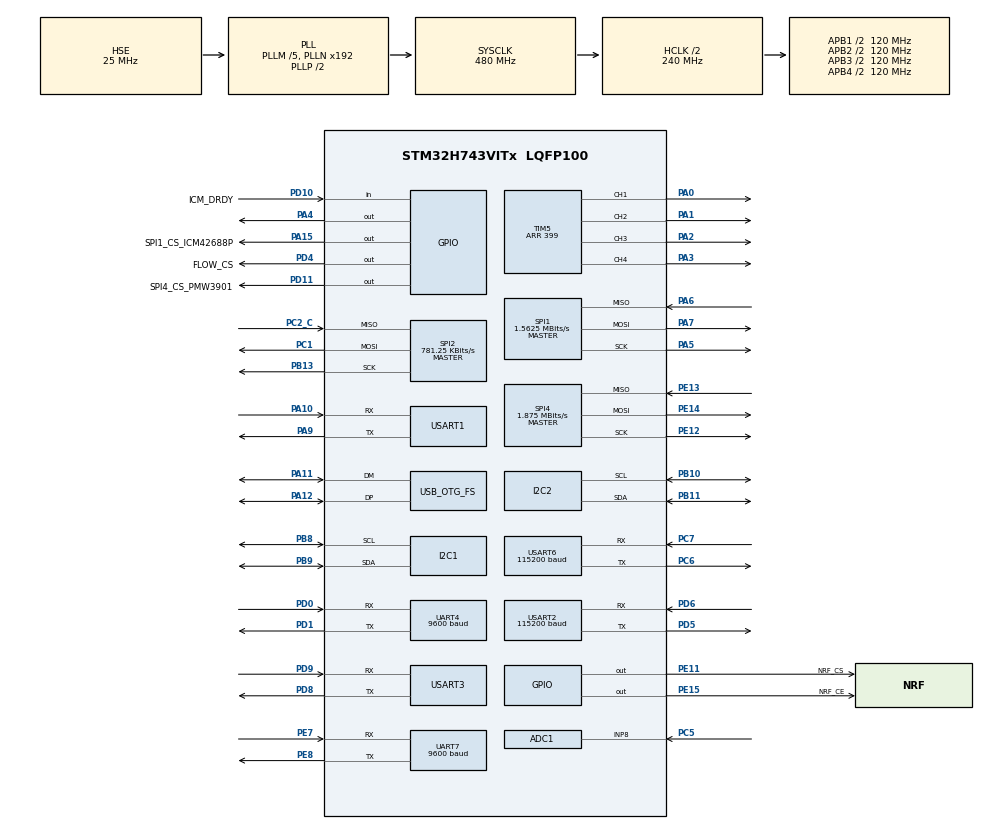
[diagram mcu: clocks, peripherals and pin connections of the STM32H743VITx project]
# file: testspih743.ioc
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ADC1.Channel-0\#ChannelRegularConversion=ADC_CHANNEL_8
ADC1.ClockPrescaler=ADC_CLOCK_ASYNC_DIV64
ADC1.ContinuousConvMode=ENABLE
ADC1.NbrOfConversionFlag=1
ADC1.OffsetNumber-0\#ChannelRegularConversion=ADC_OFFSET_NONE
ADC1.OffsetSignedSaturation-0\#ChannelRegularConversion=DISABLE
ADC1.Rank-0\#ChannelRegularConversion=1
ADC1.Resolution=ADC_RESOLUTION_12B
ADC1.SamplingTime-0\#ChannelRegularConversion=ADC_SAMPLETIME_1CYCLE_5
ADC1.master=1
CORTEX_M7.default_mode_Activation=1
Dma.ADC1.0.Direction=DMA_PERIPH_TO_MEMORY
Dma.ADC1.0.EventEnable=DISABLE
Dma.ADC1.0.FIFOMode=DMA_FIFOMODE_DISABLE
Dma.ADC1.0.Instance=DMA1_Stream0
Dma.ADC1.0.MemDataAlignment=DMA_MDATAALIGN_WORD
Dma.ADC1.0.MemInc=DMA_MINC_ENABLE
Dma.ADC1.0.Mode=DMA_CIRCULAR
Dma.ADC1.0.PeriphDataAlignment=DMA_PDATAALIGN_WORD
Dma.ADC1.0.PeriphInc=DMA_PINC_DISABLE
Dma.ADC1.0.Polarity=HAL_DMAMUX_REQ_GEN_RISING
Dma.ADC1.0.Priority=DMA_PRIORITY_LOW
Dma.ADC1.0.RequestNumber=1
Dma.ADC1.0.SignalID=NONE
Dma.ADC1.0.SyncEnable=DISABLE
Dma.ADC1.0.SyncPolarity=HAL_DMAMUX_SYNC_NO_EVENT
Dma.ADC1.0.SyncRequestNumber=1
Dma.ADC1.0.SyncSignalID=NONE
Dma.I2C1_RX.10.Direction=DMA_PERIPH_TO_MEMORY
Dma.I2C1_RX.10.EventEnable=DISABLE
Dma.I2C1_RX.10.FIFOMode=DMA_FIFOMODE_DISABLE
Dma.I2C1_RX.10.Instance=DMA2_Stream2
Dma.I2C1_RX.10.MemDataAlignment=DMA_MDATAALIGN_BYTE
Dma.I2C1_RX.10.MemInc=DMA_MINC_ENABLE
Dma.I2C1_RX.10.Mode=DMA_NORMAL
Dma.I2C1_RX.10.PeriphDataAlignment=DMA_PDATAALIGN_BYTE
Dma.I2C1_RX.10.PeriphInc=DMA_PINC_DISABLE
Dma.I2C1_RX.10.Polarity=HAL_DMAMUX_REQ_GEN_RISING
Dma.I2C1_RX.10.Priority=DMA_PRIORITY_LOW
Dma.I2C1_RX.10.RequestNumber=1
Dma.I2C1_RX.10.SignalID=NONE
Dma.I2C1_RX.10.SyncEnable=DISABLE
Dma.I2C1_RX.10.SyncPolarity=HAL_DMAMUX_SYNC_NO_EVENT
Dma.I2C1_RX.10.SyncRequestNumber=1
Dma.I2C1_RX.10.SyncSignalID=NONE
Dma.I2C1_TX.11.Direction=DMA_MEMORY_TO_PERIPH
Dma.I2C1_TX.11.EventEnable=DISABLE
Dma.I2C1_TX.11.FIFOMode=DMA_FIFOMODE_DISABLE
Dma.I2C1_TX.11.Instance=DMA2_Stream3
Dma.I2C1_TX.11.MemDataAlignment=DMA_MDATAALIGN_BYTE
Dma.I2C1_TX.11.MemInc=DMA_MINC_ENABLE
Dma.I2C1_TX.11.Mode=DMA_NORMAL
Dma.I2C1_TX.11.PeriphDataAlignment=DMA_PDATAALIGN_BYTE
Dma.I2C1_TX.11.PeriphInc=DMA_PINC_DISABLE
Dma.I2C1_TX.11.Polarity=HAL_DMAMUX_REQ_GEN_RISING
Dma.I2C1_TX.11.Priority=DMA_PRIORITY_LOW
Dma.I2C1_TX.11.RequestNumber=1
Dma.I2C1_TX.11.SignalID=NONE
Dma.I2C1_TX.11.SyncEnable=DISABLE
Dma.I2C1_TX.11.SyncPolarity=HAL_DMAMUX_SYNC_NO_EVENT
Dma.I2C1_TX.11.SyncRequestNumber=1
Dma.I2C1_TX.11.SyncSignalID=NONE
Dma.Request0=ADC1
Dma.Request1=TIM5_CH1
Dma.Request10=I2C1_RX
Dma.Request11=I2C1_TX
Dma.Request12=SPI4_RX
Dma.Request13=SPI4_TX
Dma.Request14=UART7_RX
Dma.Request15=UART7_TX
Dma.Request2=TIM5_CH2
Dma.Request3=TIM5_CH3
Dma.Request4=TIM5_CH4
Dma.Request5=SPI1_RX
Dma.Request6=SPI1_TX
Dma.Request7=USART6_RX
Dma.Request8=USART3_RX
Dma.Request9=USART2_RX
Dma.SPI1_RX.5.Direction=DMA_PERIPH_TO_MEMORY
Dma.SPI1_RX.5.EventEnable=DISABLE
Dma.SPI1_RX.5.FIFOMode=DMA_FIFOMODE_DISABLE
Dma.SPI1_RX.5.Instance=DMA1_Stream5
Dma.SPI1_RX.5.MemDataAlignment=DMA_MDATAALIGN_BYTE
Dma.SPI1_RX.5.MemInc=DMA_MINC_ENABLE
Dma.SPI1_RX.5.Mode=DMA_NORMAL
Dma.SPI1_RX.5.PeriphDataAlignment=DMA_PDATAALIGN_BYTE
Dma.SPI1_RX.5.PeriphInc=DMA_PINC_DISABLE
Dma.SPI1_RX.5.Polarity=HAL_DMAMUX_REQ_GEN_RISING
Dma.SPI1_RX.5.Priority=DMA_PRIORITY_LOW
Dma.SPI1_RX.5.RequestNumber=1
Dma.SPI1_RX.5.SignalID=NONE
Dma.SPI1_RX.5.SyncEnable=DISABLE
Dma.SPI1_RX.5.SyncPolarity=HAL_DMAMUX_SYNC_NO_EVENT
Dma.SPI1_RX.5.SyncRequestNumber=1
Dma.SPI1_RX.5.SyncSignalID=NONE
Dma.SPI1_TX.6.Direction=DMA_MEMORY_TO_PERIPH
Dma.SPI1_TX.6.EventEnable=DISABLE
Dma.SPI1_TX.6.FIFOMode=DMA_FIFOMODE_DISABLE
Dma.SPI1_TX.6.Instance=DMA1_Stream6
Dma.SPI1_TX.6.MemDataAlignment=DMA_MDATAALIGN_BYTE
Dma.SPI1_TX.6.MemInc=DMA_MINC_ENABLE
Dma.SPI1_TX.6.Mode=DMA_NORMAL
Dma.SPI1_TX.6.PeriphDataAlignment=DMA_PDATAALIGN_BYTE
Dma.SPI1_TX.6.PeriphInc=DMA_PINC_DISABLE
Dma.SPI1_TX.6.Polarity=HAL_DMAMUX_REQ_GEN_RISING
Dma.SPI1_TX.6.Priority=DMA_PRIORITY_LOW
Dma.SPI1_TX.6.RequestNumber=1
Dma.SPI1_TX.6.SignalID=NONE
Dma.SPI1_TX.6.SyncEnable=DISABLE
Dma.SPI1_TX.6.SyncPolarity=HAL_DMAMUX_SYNC_NO_EVENT
Dma.SPI1_TX.6.SyncRequestNumber=1
Dma.SPI1_TX.6.SyncSignalID=NONE
Dma.SPI4_RX.12.Direction=DMA_PERIPH_TO_MEMORY
Dma.SPI4_RX.12.EventEnable=DISABLE
Dma.SPI4_RX.12.FIFOMode=DMA_FIFOMODE_DISABLE
Dma.SPI4_RX.12.Instance=DMA2_Stream4
Dma.SPI4_RX.12.MemDataAlignment=DMA_MDATAALIGN_BYTE
Dma.SPI4_RX.12.MemInc=DMA_MINC_ENABLE
Dma.SPI4_RX.12.Mode=DMA_NORMAL
Dma.SPI4_RX.12.PeriphDataAlignment=DMA_PDATAALIGN_BYTE
Dma.SPI4_RX.12.PeriphInc=DMA_PINC_DISABLE
Dma.SPI4_RX.12.Polarity=HAL_DMAMUX_REQ_GEN_RISING
Dma.SPI4_RX.12.Priority=DMA_PRIORITY_LOW
Dma.SPI4_RX.12.RequestNumber=1
Dma.SPI4_RX.12.SignalID=NONE
Dma.SPI4_RX.12.SyncEnable=DISABLE
Dma.SPI4_RX.12.SyncPolarity=HAL_DMAMUX_SYNC_NO_EVENT
Dma.SPI4_RX.12.SyncRequestNumber=1
Dma.SPI4_RX.12.SyncSignalID=NONE
Dma.SPI4_TX.13.Direction=DMA_MEMORY_TO_PERIPH
Dma.SPI4_TX.13.EventEnable=DISABLE
Dma.SPI4_TX.13.FIFOMode=DMA_FIFOMODE_DISABLE
Dma.SPI4_TX.13.Instance=DMA2_Stream5
Dma.SPI4_TX.13.MemDataAlignment=DMA_MDATAALIGN_BYTE
Dma.SPI4_TX.13.MemInc=DMA_MINC_ENABLE
Dma.SPI4_TX.13.Mode=DMA_NORMAL
Dma.SPI4_TX.13.PeriphDataAlignment=DMA_PDATAALIGN_BYTE
Dma.SPI4_TX.13.PeriphInc=DMA_PINC_DISABLE
Dma.SPI4_TX.13.Polarity=HAL_DMAMUX_REQ_GEN_RISING
Dma.SPI4_TX.13.Priority=DMA_PRIORITY_LOW
Dma.SPI4_TX.13.RequestNumber=1
Dma.SPI4_TX.13.SignalID=NONE
Dma.SPI4_TX.13.SyncEnable=DISABLE
Dma.SPI4_TX.13.SyncPolarity=HAL_DMAMUX_SYNC_NO_EVENT
Dma.SPI4_TX.13.SyncRequestNumber=1
Dma.SPI4_TX.13.SyncSignalID=NONE
Dma.TIM5_CH1.1.Direction=DMA_MEMORY_TO_PERIPH
Dma.TIM5_CH1.1.EventEnable=DISABLE
Dma.TIM5_CH1.1.FIFOMode=DMA_FIFOMODE_DISABLE
Dma.TIM5_CH1.1.Instance=DMA1_Stream1
Dma.TIM5_CH1.1.MemDataAlignment=DMA_MDATAALIGN_WORD
Dma.TIM5_CH1.1.MemInc=DMA_MINC_ENABLE
Dma.TIM5_CH1.1.Mode=DMA_NORMAL
Dma.TIM5_CH1.1.PeriphDataAlignment=DMA_PDATAALIGN_WORD
Dma.TIM5_CH1.1.PeriphInc=DMA_PINC_DISABLE
Dma.TIM5_CH1.1.Polarity=HAL_DMAMUX_REQ_GEN_RISING
Dma.TIM5_CH1.1.Priority=DMA_PRIORITY_LOW
Dma.TIM5_CH1.1.RequestNumber=1
Dma.TIM5_CH1.1.SignalID=NONE
Dma.TIM5_CH1.1.SyncEnable=DISABLE
Dma.TIM5_CH1.1.SyncPolarity=HAL_DMAMUX_SYNC_NO_EVENT
Dma.TIM5_CH1.1.SyncRequestNumber=1
Dma.TIM5_CH1.1.SyncSignalID=NONE
Dma.TIM5_CH2.2.Direction=DMA_MEMORY_TO_PERIPH
Dma.TIM5_CH2.2.EventEnable=DISABLE
Dma.TIM5_CH2.2.FIFOMode=DMA_FIFOMODE_DISABLE
Dma.TIM5_CH2.2.Instance=DMA1_Stream2
Dma.TIM5_CH2.2.MemDataAlignment=DMA_MDATAALIGN_WORD
Dma.TIM5_CH2.2.MemInc=DMA_MINC_ENABLE
Dma.TIM5_CH2.2.Mode=DMA_NORMAL
Dma.TIM5_CH2.2.PeriphDataAlignment=DMA_PDATAALIGN_WORD
Dma.TIM5_CH2.2.PeriphInc=DMA_PINC_DISABLE
Dma.TIM5_CH2.2.Polarity=HAL_DMAMUX_REQ_GEN_RISING
Dma.TIM5_CH2.2.Priority=DMA_PRIORITY_LOW
Dma.TIM5_CH2.2.RequestNumber=1
Dma.TIM5_CH2.2.SignalID=NONE
Dma.TIM5_CH2.2.SyncEnable=DISABLE
Dma.TIM5_CH2.2.SyncPolarity=HAL_DMAMUX_SYNC_NO_EVENT
Dma.TIM5_CH2.2.SyncRequestNumber=1
Dma.TIM5_CH2.2.SyncSignalID=NONE
Dma.TIM5_CH3.3.Direction=DMA_MEMORY_TO_PERIPH
Dma.TIM5_CH3.3.EventEnable=DISABLE
Dma.TIM5_CH3.3.FIFOMode=DMA_FIFOMODE_DISABLE
Dma.TIM5_CH3.3.Instance=DMA1_Stream3
Dma.TIM5_CH3.3.MemDataAlignment=DMA_MDATAALIGN_WORD
Dma.TIM5_CH3.3.MemInc=DMA_MINC_ENABLE
Dma.TIM5_CH3.3.Mode=DMA_NORMAL
Dma.TIM5_CH3.3.PeriphDataAlignment=DMA_PDATAALIGN_WORD
Dma.TIM5_CH3.3.PeriphInc=DMA_PINC_DISABLE
Dma.TIM5_CH3.3.Polarity=HAL_DMAMUX_REQ_GEN_RISING
Dma.TIM5_CH3.3.Priority=DMA_PRIORITY_LOW
Dma.TIM5_CH3.3.RequestNumber=1
Dma.TIM5_CH3.3.SignalID=NONE
Dma.TIM5_CH3.3.SyncEnable=DISABLE
Dma.TIM5_CH3.3.SyncPolarity=HAL_DMAMUX_SYNC_NO_EVENT
Dma.TIM5_CH3.3.SyncRequestNumber=1
Dma.TIM5_CH3.3.SyncSignalID=NONE
Dma.TIM5_CH4.4.Direction=DMA_MEMORY_TO_PERIPH
Dma.TIM5_CH4.4.EventEnable=DISABLE
Dma.TIM5_CH4.4.FIFOMode=DMA_FIFOMODE_DISABLE
Dma.TIM5_CH4.4.Instance=DMA1_Stream4
Dma.TIM5_CH4.4.MemDataAlignment=DMA_MDATAALIGN_WORD
Dma.TIM5_CH4.4.MemInc=DMA_MINC_ENABLE
Dma.TIM5_CH4.4.Mode=DMA_NORMAL
Dma.TIM5_CH4.4.PeriphDataAlignment=DMA_PDATAALIGN_WORD
Dma.TIM5_CH4.4.PeriphInc=DMA_PINC_DISABLE
Dma.TIM5_CH4.4.Polarity=HAL_DMAMUX_REQ_GEN_RISING
Dma.TIM5_CH4.4.Priority=DMA_PRIORITY_LOW
Dma.TIM5_CH4.4.RequestNumber=1
Dma.TIM5_CH4.4.SignalID=NONE
Dma.TIM5_CH4.4.SyncEnable=DISABLE
Dma.TIM5_CH4.4.SyncPolarity=HAL_DMAMUX_SYNC_NO_EVENT
Dma.TIM5_CH4.4.SyncRequestNumber=1
Dma.TIM5_CH4.4.SyncSignalID=NONE
Dma.UART7_RX.14.Direction=DMA_PERIPH_TO_MEMORY
Dma.UART7_RX.14.EventEnable=DISABLE
Dma.UART7_RX.14.FIFOMode=DMA_FIFOMODE_DISABLE
Dma.UART7_RX.14.Instance=DMA2_Stream6
Dma.UART7_RX.14.MemDataAlignment=DMA_MDATAALIGN_BYTE
Dma.UART7_RX.14.MemInc=DMA_MINC_ENABLE
Dma.UART7_RX.14.Mode=DMA_CIRCULAR
Dma.UART7_RX.14.PeriphDataAlignment=DMA_PDATAALIGN_BYTE
Dma.UART7_RX.14.PeriphInc=DMA_PINC_DISABLE
Dma.UART7_RX.14.Polarity=HAL_DMAMUX_REQ_GEN_RISING
Dma.UART7_RX.14.Priority=DMA_PRIORITY_LOW
Dma.UART7_RX.14.RequestNumber=1
Dma.UART7_RX.14.SignalID=NONE
Dma.UART7_RX.14.SyncEnable=DISABLE
Dma.UART7_RX.14.SyncPolarity=HAL_DMAMUX_SYNC_NO_EVENT
Dma.UART7_RX.14.SyncRequestNumber=1
Dma.UART7_RX.14.SyncSignalID=NONE
Dma.UART7_TX.15.Direction=DMA_MEMORY_TO_PERIPH
Dma.UART7_TX.15.EventEnable=DISABLE
Dma.UART7_TX.15.FIFOMode=DMA_FIFOMODE_DISABLE
Dma.UART7_TX.15.Instance=DMA2_Stream7
Dma.UART7_TX.15.MemDataAlignment=DMA_MDATAALIGN_BYTE
Dma.UART7_TX.15.MemInc=DMA_MINC_ENABLE
Dma.UART7_TX.15.Mode=DMA_CIRCULAR
Dma.UART7_TX.15.PeriphDataAlignment=DMA_PDATAALIGN_BYTE
Dma.UART7_TX.15.PeriphInc=DMA_PINC_DISABLE
Dma.UART7_TX.15.Polarity=HAL_DMAMUX_REQ_GEN_RISING
Dma.UART7_TX.15.Priority=DMA_PRIORITY_LOW
Dma.UART7_TX.15.RequestNumber=1
Dma.UART7_TX.15.SignalID=NONE
Dma.UART7_TX.15.SyncEnable=DISABLE
Dma.UART7_TX.15.SyncPolarity=HAL_DMAMUX_SYNC_NO_EVENT
Dma.UART7_TX.15.SyncRequestNumber=1
Dma.UART7_TX.15.SyncSignalID=NONE
Dma.USART2_RX.9.Direction=DMA_PERIPH_TO_MEMORY
Dma.USART2_RX.9.EventEnable=DISABLE
Dma.USART2_RX.9.FIFOMode=DMA_FIFOMODE_DISABLE
Dma.USART2_RX.9.Instance=DMA2_Stream1
Dma.USART2_RX.9.MemDataAlignment=DMA_MDATAALIGN_BYTE
Dma.USART2_RX.9.MemInc=DMA_MINC_ENABLE
Dma.USART2_RX.9.Mode=DMA_CIRCULAR
Dma.USART2_RX.9.PeriphDataAlignment=DMA_PDATAALIGN_BYTE
Dma.USART2_RX.9.PeriphInc=DMA_PINC_DISABLE
Dma.USART2_RX.9.Polarity=HAL_DMAMUX_REQ_GEN_RISING
Dma.USART2_RX.9.Priority=DMA_PRIORITY_LOW
Dma.USART2_RX.9.RequestNumber=1
Dma.USART2_RX.9.SignalID=NONE
Dma.USART2_RX.9.SyncEnable=DISABLE
Dma.USART2_RX.9.SyncPolarity=HAL_DMAMUX_SYNC_NO_EVENT
Dma.USART2_RX.9.SyncRequestNumber=1
Dma.USART2_RX.9.SyncSignalID=NONE
Dma.USART3_RX.8.Direction=DMA_PERIPH_TO_MEMORY
Dma.USART3_RX.8.EventEnable=DISABLE
Dma.USART3_RX.8.FIFOMode=DMA_FIFOMODE_DISABLE
Dma.USART3_RX.8.Instance=DMA2_Stream0
Dma.USART3_RX.8.MemDataAlignment=DMA_MDATAALIGN_BYTE
Dma.USART3_RX.8.MemInc=DMA_MINC_ENABLE
Dma.USART3_RX.8.Mode=DMA_CIRCULAR
Dma.USART3_RX.8.PeriphDataAlignment=DMA_PDATAALIGN_BYTE
Dma.USART3_RX.8.PeriphInc=DMA_PINC_DISABLE
Dma.USART3_RX.8.Polarity=HAL_DMAMUX_REQ_GEN_RISING
Dma.USART3_RX.8.Priority=DMA_PRIORITY_LOW
Dma.USART3_RX.8.RequestNumber=1
Dma.USART3_RX.8.SignalID=NONE
Dma.USART3_RX.8.SyncEnable=DISABLE
Dma.USART3_RX.8.SyncPolarity=HAL_DMAMUX_SYNC_NO_EVENT
Dma.USART3_RX.8.SyncRequestNumber=1
Dma.USART3_RX.8.SyncSignalID=NONE
Dma.USART6_RX.7.Direction=DMA_PERIPH_TO_MEMORY
Dma.USART6_RX.7.EventEnable=DISABLE
Dma.USART6_RX.7.FIFOMode=DMA_FIFOMODE_DISABLE
Dma.USART6_RX.7.Instance=DMA1_Stream7
Dma.USART6_RX.7.MemDataAlignment=DMA_MDATAALIGN_BYTE
Dma.USART6_RX.7.MemInc=DMA_MINC_ENABLE
Dma.USART6_RX.7.Mode=DMA_CIRCULAR
Dma.USART6_RX.7.PeriphDataAlignment=DMA_PDATAALIGN_BYTE
Dma.USART6_RX.7.PeriphInc=DMA_PINC_DISABLE
Dma.USART6_RX.7.Polarity=HAL_DMAMUX_REQ_GEN_RISING
Dma.USART6_RX.7.Priority=DMA_PRIORITY_LOW
Dma.USART6_RX.7.RequestNumber=1
Dma.USART6_RX.7.SignalID=NONE
Dma.USART6_RX.7.SyncEnable=DISABLE
Dma.USART6_RX.7.SyncPolarity=HAL_DMAMUX_SYNC_NO_EVENT
Dma.USART6_RX.7.SyncRequestNumber=1
Dma.USART6_RX.7.SyncSignalID=NONE
FREERTOS.Tasks01=defaultTask,24,128,StartDefaultTask,Default,NULL,Dynamic,NULL,NULL;sensorsTask,48,128,StartTask02,Default,NULL,Dynamic,NULL,NULL;gpsTask,8,128,StartTask03,Default,NULL,Dynamic,NULL,NULL
FREERTOS.configGENERATE_RUN_TIME_STATS=1
FREERTOS.configUSE_STATS_FORMATTING_FUNCTIONS=1
I2C1.Timing=0x307075B1
I2C2.Timing=0x307075B1
Mcu.Family=STM32H7
Mcu.Name=STM32H743VITx
Mcu.Package=LQFP100
NVIC.DMA1_Stream0_IRQn=true\:5\:0\:false\:false\:true\:true\:false\:true\:true
NVIC.DMA1_Stream1_IRQn=true\:5\:0\:false\:false\:true\:true\:false\:true\:true
NVIC.DMA1_Stream2_IRQn=true\:5\:0\:false\:false\:true\:true\:false\:true\:true
NVIC.DMA1_Stream3_IRQn=true\:5\:0\:false\:false\:true\:true\:false\:true\:true
NVIC.DMA1_Stream4_IRQn=true\:5\:0\:false\:false\:true\:true\:false\:true\:true
NVIC.DMA1_Stream5_IRQn=true\:5\:0\:false\:false\:true\:true\:false\:true\:true
NVIC.DMA1_Stream6_IRQn=true\:5\:0\:false\:false\:true\:true\:false\:true\:true
NVIC.DMA1_Stream7_IRQn=true\:5\:0\:false\:false\:true\:true\:false\:true\:true
NVIC.DMA2_Stream0_IRQn=true\:5\:0\:false\:false\:true\:true\:false\:true\:true
NVIC.DMA2_Stream1_IRQn=true\:5\:0\:false\:false\:true\:true\:false\:true\:true
NVIC.DMA2_Stream2_IRQn=true\:5\:0\:false\:false\:true\:true\:false\:true\:true
NVIC.DMA2_Stream3_IRQn=true\:5\:0\:false\:false\:true\:true\:false\:true\:true
NVIC.DMA2_Stream4_IRQn=true\:5\:0\:false\:false\:true\:true\:false\:true\:true
NVIC.DMA2_Stream5_IRQn=true\:5\:0\:false\:false\:true\:true\:false\:true\:true
NVIC.DMA2_Stream6_IRQn=true\:5\:0\:false\:false\:true\:true\:false\:true\:true
NVIC.DMA2_Stream7_IRQn=true\:5\:0\:false\:false\:true\:true\:false\:true\:true
NVIC.OTG_FS_IRQn=true\:5\:0\:false\:false\:true\:true\:false\:true\:true
NVIC.PriorityGroup=NVIC_PRIORITYGROUP_4
NVIC.SPI1_IRQn=true\:5\:0\:false\:false\:true\:true\:false\:true\:true
NVIC.SPI4_IRQn=true\:5\:0\:false\:false\:true\:true\:false\:true\:true
NVIC.UART7_IRQn=true\:5\:0\:false\:false\:true\:true\:true\:true\:true
NVIC.USART2_IRQn=true\:5\:0\:false\:false\:true\:true\:true\:true\:true
NVIC.USART3_IRQn=true\:5\:0\:false\:false\:true\:true\:true\:true\:true
NVIC.USART6_IRQn=true\:5\:0\:false\:false\:true\:true\:true\:true\:true
PA0.Signal=S_TIM5_CH1
PA1.Signal=S_TIM5_CH2
PA10.Mode=Asynchronous
PA10.Signal=USART1_RX
PA11.Mode=Device_Only
PA11.Signal=USB_OTG_FS_DM
PA12.Mode=Device_Only
PA12.Signal=USB_OTG_FS_DP
PA15\ (JTDI).GPIO_Label=SPI1_CS_ICM42688P
PA15\ (JTDI).Signal=GPIO_Output
PA2.Signal=S_TIM5_CH3
PA3.Signal=S_TIM5_CH4
PA4.Signal=GPIO_Output
PA5.Mode=Full_Duplex_Master
PA5.Signal=SPI1_SCK
PA6.Mode=Full_Duplex_Master
PA6.Signal=SPI1_MISO
PA7.Mode=Full_Duplex_Master
PA7.Signal=SPI1_MOSI
PA9.Mode=Asynchronous
PA9.Signal=USART1_TX
PB10.Mode=I2C
PB10.Signal=I2C2_SCL
PB11.Mode=I2C
PB11.Signal=I2C2_SDA
PB13.Mode=Full_Duplex_Master
PB13.Signal=SPI2_SCK
PB8.Mode=I2C
PB8.Signal=I2C1_SCL
PB9.Mode=I2C
PB9.Signal=I2C1_SDA
PC0.Signal=ADCx_INP10
PC1.Mode=Full_Duplex_Master
PC1.Signal=SPI2_MOSI
PC2_C.Mode=Full_Duplex_Master
PC2_C.Signal=SPI2_MISO
PC4.Signal=ADCx_INP4
PC5.Signal=ADCx_INP8
PC6.Mode=Asynchronous
PC6.Signal=USART6_TX
PC7.Mode=Asynchronous
PC7.Signal=USART6_RX
PD0.Mode=Asynchronous
PD0.Signal=UART4_RX
PD1.Mode=Asynchronous
PD1.Signal=UART4_TX
PD10.GPIO_Label=ICM_DRDY
PD10.Signal=GPIO_Input
PD11.GPIO_Label=SPI4_CS_PMW3901
PD11.Signal=GPIO_Output
PD4.GPIO_Label=FLOW_CS
PD4.Signal=GPIO_Output
PD5.Mode=Asynchronous
PD5.Signal=USART2_TX
PD6.Mode=Asynchronous
PD6.Signal=USART2_RX
PD8.Mode=Asynchronous
PD8.Signal=USART3_TX
PD9.Mode=Asynchronous
PD9.Signal=USART3_RX
PE11.GPIO_Label=NRF_CS
PE11.Signal=GPIO_Output
PE12.Mode=Full_Duplex_Master
PE12.Signal=SPI4_SCK
PE13.Mode=Full_Duplex_Master
PE13.Signal=SPI4_MISO
PE14.Mode=Full_Duplex_Master
PE14.Signal=SPI4_MOSI
PE15.GPIO_Label=NRF_CE
PE15.Signal=GPIO_Output
PE7.Mode=Asynchronous
PE7.Signal=UART7_RX
PE8.Mode=Asynchronous
PE8.Signal=UART7_TX
PH0-OSC_IN\ (PH0).Mode=HSE-External-Oscillator
PH0-OSC_IN\ (PH0).Signal=RCC_OSC_IN
PH1-OSC_OUT\ (PH1).Mode=HSE-External-Oscillator
PH1-OSC_OUT\ (PH1).Signal=RCC_OSC_OUT
ProjectManager.HeapSize=0x200
ProjectManager.StackSize=0x400
ProjectManager.TargetToolchain=STM32CubeIDE
RCC.ADCFreq_Value=50000000
RCC.APB1Freq_Value=120000000
RCC.APB2Freq_Value=120000000
RCC.APB3Freq_Value=120000000
RCC.APB4Freq_Value=120000000
RCC.CortexFreq_Value=480000000
RCC.D1PPRE=RCC_APB3_DIV2
RCC.D2PPRE1=RCC_APB1_DIV2
RCC.D2PPRE2=RCC_APB2_DIV2
RCC.D3PPRE=RCC_APB4_DIV2
RCC.DIVM1=5
RCC.DIVM2=5
RCC.DIVM3=2
RCC.DIVN1=192
RCC.DIVN2=80
RCC.DIVN3=12
RCC.DIVP2=8
RCC.DIVQ3=3
RCC.HCLKFreq_Value=240000000
RCC.HPRE=RCC_HCLK_DIV2
RCC.PLL2FRACN=0
RCC.PLL3FRACN=0
RCC.PLLFRACN=0
RCC.SPI123CLockSelection=RCC_SPI123CLKSOURCE_PLL2
RCC.SYSCLKFreq_VALUE=480000000
RCC.SYSCLKSource=RCC_SYSCLKSOURCE_PLLCLK
RCC.USBCLockSelection=RCC_USBCLKSOURCE_PLL3
RCC.USBFreq_Value=50000000
SH.ADCx_INP10.0=ADC1_INP10
SH.ADCx_INP4.0=ADC1_INP4
SH.ADCx_INP8.0=ADC1_INP8,IN8-Single-Ended
SH.S_TIM5_CH1.0=TIM5_CH1,PWM Generation1 CH1
SH.S_TIM5_CH2.0=TIM5_CH2,PWM Generation2 CH2
SH.S_TIM5_CH3.0=TIM5_CH3,PWM Generation3 CH3
SH.S_TIM5_CH4.0=TIM5_CH4,PWM Generation4 CH4
SPI1.BaudRatePrescaler=SPI_BAUDRATEPRESCALER_32
SPI1.CLKPhase=SPI_PHASE_1EDGE
SPI1.CLKPolarity=SPI_POLARITY_LOW
SPI1.CalculateBaudRate=1.5625 MBits/s
SPI1.DataSize=SPI_DATASIZE_8BIT
SPI1.Direction=SPI_DIRECTION_2LINES
SPI1.Mode=SPI_MODE_MASTER
SPI1.NSSPMode=SPI_NSS_PULSE_DISABLE
SPI1.VirtualType=VM_MASTER
SPI2.BaudRatePrescaler=SPI_BAUDRATEPRESCALER_64
SPI2.CalculateBaudRate=781.25 KBits/s
SPI2.DataSize=SPI_DATASIZE_8BIT
SPI2.Direction=SPI_DIRECTION_2LINES
SPI2.Mode=SPI_MODE_MASTER
SPI2.VirtualType=VM_MASTER
SPI4.BaudRatePrescaler=SPI_BAUDRATEPRESCALER_64
SPI4.CalculateBaudRate=1.875 MBits/s
SPI4.DataSize=SPI_DATASIZE_8BIT
SPI4.Direction=SPI_DIRECTION_2LINES
SPI4.Mode=SPI_MODE_MASTER
SPI4.VirtualType=VM_MASTER
TIM5.Channel-PWM\ Generation1\ CH1=TIM_CHANNEL_1
TIM5.Channel-PWM\ Generation2\ CH2=TIM_CHANNEL_2
TIM5.Channel-PWM\ Generation3\ CH3=TIM_CHANNEL_3
TIM5.Channel-PWM\ Generation4\ CH4=TIM_CHANNEL_4
TIM5.Period=399
UART4.BaudRate=9600
UART7.BaudRate=9600
USART1.VirtualMode-Asynchronous=VM_ASYNC
USART2.BaudRate=115200
USART2.VirtualMode-Asynchronous=VM_ASYNC
USART3.VirtualMode-Asynchronous=VM_ASYNC
USART6.BaudRate=115200
USART6.VirtualMode=VM_ASYNC
USB_DEVICE.CLASS_NAME_FS=CDC
USB_DEVICE.VirtualMode-CDC_FS=Cdc
USB_DEVICE.VirtualModeFS=Cdc_FS
USB_OTG_FS.VirtualMode=Device_Only
VP_FREERTOS_VS_CMSIS_V2.Mode=CMSIS_V2
VP_MEMORYMAP_VS_MEMORYMAP.Mode=CurAppReg
VP_TIM2_VS_ClockSourceINT.Mode=Internal
VP_TIM5_VS_ClockSourceINT.Mode=Internal
VP_USB_DEVICE_VS_USB_DEVICE_CDC_FS.Mode=CDC_FS
board=custom

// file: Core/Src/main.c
/* USER CODE BEGIN Header */
/**
  ******************************************************************************
  * @file           : main.c
  * @brief          : Main program body
  ******************************************************************************
  */
/* USER CODE END Header */
#include "main.h"
#include "FreeRTOS.h"
#include "cmsis_os2.h"
#include "adc.h"
#include "dma.h"
#include "i2c.h"
#include "spi.h"
#include "tim.h"
#include "usart.h"
#include "usb_device.h"
#include "gpio.h"

/* USER CODE BEGIN Includes */
#include <stdio.h>
#include <string.h>
#include <stdlib.h>
#include "usbd_cdc_if.h"
#include "../../FC_Core/Main/fc_main.h"
/* USER CODE END Includes */

/* USER CODE BEGIN PV */

/* I2C Diagnostic Counters */
uint32_t i2c_total_count = 0;
uint32_t i2c_error_count = 0;
/* USER CODE END PV */

void SystemClock_Config(void);
void PeriphCommonClock_Config(void);
static void MPU_Config(void);
void MX_FREERTOS_Init(void);

int main(void)
{

  /* MPU Configuration--------------------------------------------------------*/
  MPU_Config();

  /* MCU Configuration--------------------------------------------------------*/

  /* Reset of all peripherals, Initializes the Flash interface and the Systick. */
  HAL_Init();

  /* Configure the system clock */
  SystemClock_Config();

  /* Configure the peripherals common clocks */
  PeriphCommonClock_Config();

  /* Initialize all configured peripherals */
  MX_GPIO_Init();
  MX_DMA_Init();
  MX_SPI1_Init();
  MX_SPI2_Init();
  MX_SPI4_Init();
  MX_USART2_UART_Init();
  MX_I2C1_Init();
  MX_USART6_UART_Init();
  MX_USART1_UART_Init();
  MX_UART4_Init();
  MX_ADC1_Init();
  MX_UART7_Init();
  MX_I2C2_Init();
  MX_TIM5_Init();
  MX_USART3_UART_Init();
  MX_TIM2_Init();
  /* USER CODE BEGIN 2 */

  /* 1. Giải phóng chân PC2 cho SPI2 (Analog Switch) */
  __HAL_RCC_SYSCFG_CLK_ENABLE();
  HAL_SYSCFG_AnalogSwitchConfig(SYSCFG_SWITCH_PC2, SYSCFG_SWITCH_PC2_CLOSE);

  /* 2. Ép chân PA15 về GPIO Output cho ICM_CS */
  __HAL_RCC_GPIOA_CLK_ENABLE();
  GPIO_InitTypeDef GPIO_InitStruct = {0};
  GPIO_InitStruct.Pin = GPIO_PIN_15;
  GPIO_InitStruct.Mode = GPIO_MODE_OUTPUT_PP;
  GPIO_InitStruct.Pull = GPIO_NOPULL;
  GPIO_InitStruct.Speed = GPIO_SPEED_FREQ_VERY_HIGH;
  HAL_GPIO_Init(GPIOA, &GPIO_InitStruct);
  HAL_GPIO_WritePin(GPIOA, GPIO_PIN_15, GPIO_PIN_SET);

  /* Hạ tốc độ I2C1 xuống 100kHz để chống nhiễu dây dài (Chuẩn H7) */
  hi2c1.Init.Timing = 0x307075B1;
  HAL_I2C_Init(&hi2c1);

  HAL_Delay(2000);

  /* Bắt đầu nhường quyền điều khiển bay cho kiến trúc FC (C++) */
  FC_Run();

  /* USER CODE END 2 */

  /* Init scheduler */
  osKernelInitialize();  /* Call init function for freertos objects (in cmsis_os2.c) */
  MX_FREERTOS_Init();

  /* Start scheduler */
  osKernelStart();

  /* We should never get here as control is now taken by the scheduler */

  /* Infinite loop */
  /* USER CODE BEGIN WHILE */
  while (1)
  {
    /* Vòng lặp này sẽ không bao giờ chạy tới nếu FC_Run() có chứa while(1) hoặc osKernelStart() */
    /* USER CODE END WHILE */

  }
}

void SystemClock_Config(void)
{
  RCC_OscInitTypeDef RCC_OscInitStruct = {0};
  RCC_ClkInitTypeDef RCC_ClkInitStruct = {0};

  /** Supply configuration update enable
  */
  HAL_PWREx_ConfigSupply(PWR_LDO_SUPPLY);

  /** Configure the main internal regulator output voltage
  */
  __HAL_PWR_VOLTAGESCALING_CONFIG(PWR_REGULATOR_VOLTAGE_SCALE0);

  while(!__HAL_PWR_GET_FLAG(PWR_FLAG_VOSRDY)) {}

  /** Initializes the RCC Oscillators according to the specified parameters
  * in the RCC_OscInitTypeDef structure.
  */
  RCC_OscInitStruct.OscillatorType = RCC_OSCILLATORTYPE_HSE;
  RCC_OscInitStruct.HSEState = RCC_HSE_ON;
  RCC_OscInitStruct.PLL.PLLState = RCC_PLL_ON;
  RCC_OscInitStruct.PLL.PLLSource = RCC_PLLSOURCE_HSE;
  RCC_OscInitStruct.PLL.PLLM = 5;
  RCC_OscInitStruct.PLL.PLLN = 192;
  RCC_OscInitStruct.PLL.PLLP = 2;
  RCC_OscInitStruct.PLL.PLLQ = 2;
  RCC_OscInitStruct.PLL.PLLR = 2;
  RCC_OscInitStruct.PLL.PLLRGE = RCC_PLL1VCIRANGE_2;
  RCC_OscInitStruct.PLL.PLLVCOSEL = RCC_PLL1VCOWIDE;
  RCC_OscInitStruct.PLL.PLLFRACN = 0;
  if (HAL_RCC_OscConfig(&RCC_OscInitStruct) != HAL_OK)
  {
    Error_Handler();
  }

  /** Initializes the CPU, AHB and APB buses clocks
  */
  RCC_ClkInitStruct.ClockType = RCC_CLOCKTYPE_HCLK|RCC_CLOCKTYPE_SYSCLK
                              |RCC_CLOCKTYPE_PCLK1|RCC_CLOCKTYPE_PCLK2
                              |RCC_CLOCKTYPE_D3PCLK1|RCC_CLOCKTYPE_D1PCLK1;
  RCC_ClkInitStruct.SYSCLKSource = RCC_SYSCLKSOURCE_PLLCLK;
  RCC_ClkInitStruct.SYSCLKDivider = RCC_SYSCLK_DIV1;
  RCC_ClkInitStruct.AHBCLKDivider = RCC_HCLK_DIV2;
  RCC_ClkInitStruct.APB3CLKDivider = RCC_APB3_DIV2;
  RCC_ClkInitStruct.APB1CLKDivider = RCC_APB1_DIV2;
  RCC_ClkInitStruct.APB2CLKDivider = RCC_APB2_DIV2;
  RCC_ClkInitStruct.APB4CLKDivider = RCC_APB4_DIV2;

  if (HAL_RCC_ClockConfig(&RCC_ClkInitStruct, FLASH_LATENCY_4) != HAL_OK)
  {
    Error_Handler();
  }
}

void PeriphCommonClock_Config(void)
{
  RCC_PeriphCLKInitTypeDef PeriphClkInitStruct = {0};

  /** Initializes the peripherals clock
  */
  PeriphClkInitStruct.PeriphClockSelection = RCC_PERIPHCLK_ADC|RCC_PERIPHCLK_SPI2
                              |RCC_PERIPHCLK_SPI1;
  PeriphClkInitStruct.PLL2.PLL2M = 5;
  PeriphClkInitStruct.PLL2.PLL2N = 80;
  PeriphClkInitStruct.PLL2.PLL2P = 8;
  PeriphClkInitStruct.PLL2.PLL2Q = 2;
  PeriphClkInitStruct.PLL2.PLL2R = 2;
  PeriphClkInitStruct.PLL2.PLL2RGE = RCC_PLL2VCIRANGE_2;
  PeriphClkInitStruct.PLL2.PLL2VCOSEL = RCC_PLL2VCOWIDE;
  PeriphClkInitStruct.PLL2.PLL2FRACN = 0;
  PeriphClkInitStruct.Spi123ClockSelection = RCC_SPI123CLKSOURCE_PLL2;
  PeriphClkInitStruct.AdcClockSelection = RCC_ADCCLKSOURCE_PLL2;
  if (HAL_RCCEx_PeriphCLKConfig(&PeriphClkInitStruct) != HAL_OK)
  {
    Error_Handler();
  }
}

 /* MPU Configuration */

void MPU_Config(void)
{
  MPU_Region_InitTypeDef MPU_InitStruct = {0};

  /* Disables the MPU */
  HAL_MPU_Disable();

  /** Initializes and configures the Region and the memory to be protected
  */
  MPU_InitStruct.Enable = MPU_REGION_ENABLE;
  MPU_InitStruct.Number = MPU_REGION_NUMBER0;
  MPU_InitStruct.BaseAddress = 0x0;
  MPU_InitStruct.Size = MPU_REGION_SIZE_4GB;
  MPU_InitStruct.SubRegionDisable = 0x87;
  MPU_InitStruct.TypeExtField = MPU_TEX_LEVEL0;
  MPU_InitStruct.AccessPermission = MPU_REGION_NO_ACCESS;
  MPU_InitStruct.DisableExec = MPU_INSTRUCTION_ACCESS_DISABLE;
  MPU_InitStruct.IsShareable = MPU_ACCESS_SHAREABLE;
  MPU_InitStruct.IsCacheable = MPU_ACCESS_NOT_CACHEABLE;
  MPU_InitStruct.IsBufferable = MPU_ACCESS_NOT_BUFFERABLE;

  HAL_MPU_ConfigRegion(&MPU_InitStruct);
  /* Enables the MPU */
  HAL_MPU_Enable(MPU_PRIVILEGED_DEFAULT);

}

void Error_Handler(void)
{
  __disable_irq();
  while (1) {}
}

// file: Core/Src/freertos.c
/* USER CODE BEGIN Header */
/**
  ******************************************************************************
  * File Name          : freertos.c
  * Description        : Code for freertos applications
  ******************************************************************************
  * @attention
  *
  * Copyright (c) 2026 STMicroelectronics.
  * All rights reserved.
  *
  * This software is licensed under terms that can be found in the LICENSE file
  * in the root directory of this software component.
  * If no LICENSE file comes with this software, it is provided AS-IS.
  *
  ******************************************************************************
  */
/* USER CODE END Header */

#include "FreeRTOS.h"
#include "task.h"
#include "main.h"
#include "cmsis_os2.h"
#include "tim.h"

/* Definitions for defaultTask */
osThreadId_t defaultTaskHandle;
const osThreadAttr_t defaultTask_attributes = {
  .name = "defaultTask",
  .stack_size = 128 * 4,
  .priority = (osPriority_t) osPriorityNormal,
};
/* Definitions for sensorsTask */
osThreadId_t sensorsTaskHandle;
const osThreadAttr_t sensorsTask_attributes = {
  .name = "sensorsTask",
  .stack_size = 128 * 4,
  .priority = (osPriority_t) osPriorityRealtime,
};
/* Definitions for gpsTask */
osThreadId_t gpsTaskHandle;
const osThreadAttr_t gpsTask_attributes = {
  .name = "gpsTask",
  .stack_size = 128 * 4,
  .priority = (osPriority_t) osPriorityLow,
};

/* USER CODE BEGIN FunctionPrototypes */
extern void FC_MavlinkTask(void);
extern void FC_SensorsTask(void);
extern void FC_GPSTask(void);
/* USER CODE END FunctionPrototypes */

void StartDefaultTask(void *argument);
void StartTask02(void *argument);
void StartTask03(void *argument);

extern void MX_USB_DEVICE_Init(void);
void MX_FREERTOS_Init(void); /* (MISRA C 2004 rule 8.1) */

/* Hook prototypes */
void configureTimerForRunTimeStats(void);
unsigned long getRunTimeCounterValue(void);

/* USER CODE BEGIN 1 */
/* Functions needed when configGENERATE_RUN_TIME_STATS is on */
__weak void configureTimerForRunTimeStats(void)
{
    // Kích hoạt TIM2 để làm bộ đếm cho FreeRTOS (Đã bật trong CubeMX)
    HAL_TIM_Base_Start(&htim2);
}

__weak unsigned long getRunTimeCounterValue(void)
{
    // Lấy giá trị đếm của TIM2 (32-bit)
    return __HAL_TIM_GET_COUNTER(&htim2);
}
/* USER CODE END 1 */

void MX_FREERTOS_Init(void) {

  /* Create the thread(s) */
  /* creation of defaultTask */
  defaultTaskHandle = osThreadNew(StartDefaultTask, NULL, &defaultTask_attributes);

  /* creation of sensorsTask */
  sensorsTaskHandle = osThreadNew(StartTask02, NULL, &sensorsTask_attributes);

  /* creation of gpsTask */
  gpsTaskHandle = osThreadNew(StartTask03, NULL, &gpsTask_attributes);

}

void StartDefaultTask(void *argument)
{
  /* init code for USB_DEVICE */
  MX_USB_DEVICE_Init();
  /* USER CODE BEGIN StartDefaultTask */
  FC_MavlinkTask();
  /* Infinite loop */
  for(;;)
  {
    osDelay(1);
  }
  /* USER CODE END StartDefaultTask */
}

void StartTask02(void *argument)
{
  /* USER CODE BEGIN StartTask02 */
  FC_SensorsTask();
  /* Infinite loop */
  for(;;)
  {
    osDelay(1);
  }
  /* USER CODE END StartTask02 */
}

void StartTask03(void *argument)
{
  /* USER CODE BEGIN StartTask03 */
  FC_GPSTask();
  /* Infinite loop */
  for(;;)
  {
    osDelay(1);
  }
  /* USER CODE END StartTask03 */
}
